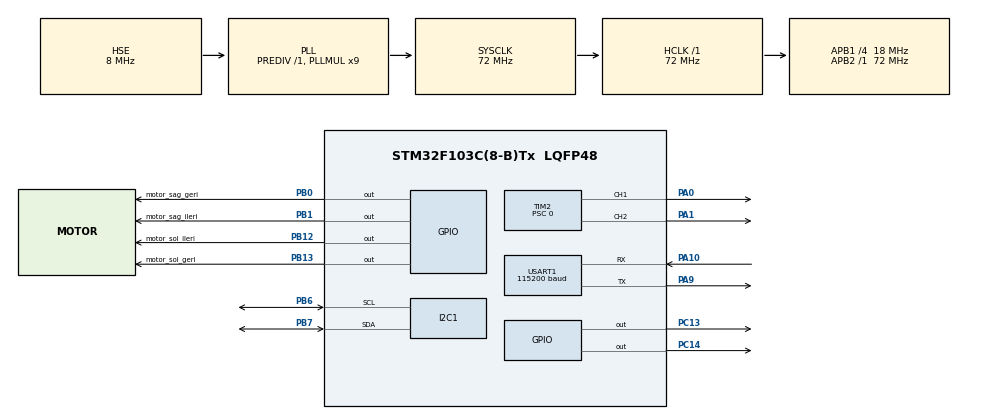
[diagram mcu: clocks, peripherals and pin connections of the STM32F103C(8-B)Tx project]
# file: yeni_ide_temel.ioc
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Mcu.Family=STM32F1
Mcu.Name=STM32F103C(8-B)Tx
Mcu.Package=LQFP48
NVIC.PriorityGroup=NVIC_PRIORITYGROUP_4
NVIC.TIM1_UP_IRQn=true\:0\:0\:false\:false\:true\:true\:true
NVIC.USART1_IRQn=true\:0\:0\:false\:false\:true\:true\:true
PA0-WKUP.Signal=S_TIM2_CH1_ETR
PA1.Signal=S_TIM2_CH2
PA10.Mode=Asynchronous
PA10.Signal=USART1_RX
PA13.Mode=Serial_Wire
PA13.Signal=SYS_JTMS-SWDIO
PA14.Mode=Serial_Wire
PA14.Signal=SYS_JTCK-SWCLK
PA9.Mode=Asynchronous
PA9.Signal=USART1_TX
PB0.GPIO_Label=motor_sag_geri
PB0.Signal=GPIO_Output
PB1.GPIO_Label=motor_sag_ileri
PB1.Signal=GPIO_Output
PB12.GPIO_Label=motor_sol_ileri
PB12.Signal=GPIO_Output
PB13.GPIO_Label=motor_sol_geri
PB13.Signal=GPIO_Output
PB6.Mode=I2C
PB6.Signal=I2C1_SCL
PB7.Mode=I2C
PB7.Signal=I2C1_SDA
PC13-TAMPER-RTC.Signal=GPIO_Output
PC14-OSC32_IN.Signal=GPIO_Output
PD0-OSC_IN.Mode=HSE-External-Oscillator
PD0-OSC_IN.Signal=RCC_OSC_IN
PD1-OSC_OUT.Mode=HSE-External-Oscillator
PD1-OSC_OUT.Signal=RCC_OSC_OUT
ProjectManager.HeapSize=0x200
ProjectManager.StackSize=0x400
ProjectManager.TargetToolchain=STM32CubeIDE
RCC.AHBFreq_Value=72000000
RCC.APB1CLKDivider=RCC_HCLK_DIV4
RCC.APB1Freq_Value=18000000
RCC.APB1TimFreq_Value=36000000
RCC.APB2Freq_Value=72000000
RCC.APB2TimFreq_Value=72000000
RCC.HCLKFreq_Value=72000000
RCC.PLLMUL=RCC_PLL_MUL9
RCC.PLLSourceVirtual=RCC_PLLSOURCE_HSE
RCC.SYSCLKFreq_VALUE=72000000
RCC.SYSCLKSource=RCC_SYSCLKSOURCE_PLLCLK
RCC.USBFreq_Value=72000000
SH.S_TIM2_CH1_ETR.0=TIM2_CH1,PWM Generation1 CH1
SH.S_TIM2_CH2.0=TIM2_CH2,PWM Generation2 CH2
TIM1.Period=1
TIM1.Prescaler=32000
TIM2.Channel-PWM\ Generation1\ CH1=TIM_CHANNEL_1
TIM2.Channel-PWM\ Generation2\ CH2=TIM_CHANNEL_2
TIM2.OCPolarity_2=TIM_OCPOLARITY_HIGH
TIM2.Period=65535
TIM2.Prescaler=0
USART1.BaudRate=115200
USART1.VirtualMode=VM_ASYNC
VP_TIM1_VS_ClockSourceINT.Mode=Internal
VP_TIM2_VS_ClockSourceINT.Mode=Internal
board=custom

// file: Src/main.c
/* USER CODE BEGIN Header */
/**
  ******************************************************************************
  * @file           : main.c
  * @brief          : Main program body
  ******************************************************************************
  * @attention
  *
  * <h2><center>&copy; Copyright (c) 2019 STMicroelectronics.
  * All rights reserved.</center></h2>
  *
  * This software component is licensed by ST under BSD 3-Clause license,
  * the "License"; You may not use this file except in compliance with the
  * License. You may obtain a copy of the License at:
  *                        opensource.org/licenses/BSD-3-Clause
  *
  ******************************************************************************
  */
/* USER CODE END Header */

#include "main.h"

/* USER CODE BEGIN Includes */
#include "definitions.h"
#include "timer.h"
#include "mpu6050.h"
#include "interpolation.h"
#include <stdio.h>
#include "pid.h"
/* USER CODE END Includes */

I2C_HandleTypeDef hi2c1;

TIM_HandleTypeDef htim1;
TIM_HandleTypeDef htim2;

UART_HandleTypeDef huart1;

void SystemClock_Config(void);
static void MX_GPIO_Init(void);
static void MX_USART1_UART_Init(void);
static void MX_TIM2_Init(void);
static void MX_I2C1_Init(void);
static void MX_TIM1_Init(void);
/* USER CODE BEGIN PFP */
void programInit(void);
void programTask(void);
void workingLed(void);
void i2c_mpu6050_Task(void);
void pidTask(void);
void uartTask(void);
void motorControl(void);
void pwm_proces();
void pwm_proces_abs();

/* USER CODE END PFP */

/* USER CODE BEGIN 0 */
uint8_t syc=0;
uint8_t data[7]="MERHABA";
uint8_t rec_data[3];
uint8_t sayi=5;
uint16_t zaman=100;
uint8_t buffer[100],n=0,ilk_deneme=0;
uint8_t tek_sayi[4];
char str[50];
float sagMotorPwmDutyValue = 0.0;
float solMotorPwmDutyValue = 0.0;
PID motorPID;

extern uint8_t dizi[];

float A_data[6];
float temp_data[2];
float G_data[6];
float Xa=0,Ya=0,Za=0;
float temp=0;
float Xg=0,Yg=0,Zg=0;
float xa_derece=0,yg_derece=0;
float duty_izleme=0;

float aci_kalib;

int8_t yon=0;

extern uint8_t syc;

/* USER CODE END 0 */

int main(void)
{

  /* MCU Configuration--------------------------------------------------------*/

  /* Reset of all peripherals, Initializes the Flash interface and the Systick. */
  HAL_Init();

  /* Configure the system clock */
  SystemClock_Config();

  /* Initialize all configured peripherals */
  MX_GPIO_Init();
  MX_USART1_UART_Init();
  MX_TIM2_Init();
  MX_I2C1_Init();
  MX_TIM1_Init();
  /* USER CODE BEGIN 2 */
  HAL_TIM_PWM_Start(&htim2,TIM_CHANNEL_1);
  HAL_TIM_PWM_Start(&htim2,TIM_CHANNEL_2);
  HAL_TIM_Base_Start_IT(&htim1);
  //HAL_UART_Receive_IT(&huart1,(uint8_t *)rx_buffer,10);
  //__HAL_UART_ENABLE_IT(&huart1,UART_IT_RXNE);
  HAL_Delay(150);
  programInit();
  uint32_t sayac;
  /* USER CODE END 2 */

  /* Infinite loop */
  /* USER CODE BEGIN WHILE */
  while (1)  //*****************************************************************************************************
  {
    /* USER CODE END WHILE */

    /* USER CODE BEGIN 3 */
	  startTimeScanFlags();
	  programTask();

	/* if(scan2Msec)
	 {
		 HAL_GPIO_TogglePin(GPIOC, GPIO_PIN_13);
	 }*/

	  clearTimeScanFlags();
  }
  /* USER CODE END 3 */
}

void SystemClock_Config(void)
{
  RCC_OscInitTypeDef RCC_OscInitStruct = {0};
  RCC_ClkInitTypeDef RCC_ClkInitStruct = {0};

  /** Initializes the CPU, AHB and APB busses clocks
  */
  RCC_OscInitStruct.OscillatorType = RCC_OSCILLATORTYPE_HSE;
  RCC_OscInitStruct.HSEState = RCC_HSE_ON;
  RCC_OscInitStruct.HSEPredivValue = RCC_HSE_PREDIV_DIV1;
  RCC_OscInitStruct.HSIState = RCC_HSI_ON;
  RCC_OscInitStruct.PLL.PLLState = RCC_PLL_ON;
  RCC_OscInitStruct.PLL.PLLSource = RCC_PLLSOURCE_HSE;
  RCC_OscInitStruct.PLL.PLLMUL = RCC_PLL_MUL9;
  if (HAL_RCC_OscConfig(&RCC_OscInitStruct) != HAL_OK)
  {
    Error_Handler();
  }
  /** Initializes the CPU, AHB and APB busses clocks
  */
  RCC_ClkInitStruct.ClockType = RCC_CLOCKTYPE_HCLK|RCC_CLOCKTYPE_SYSCLK
                              |RCC_CLOCKTYPE_PCLK1|RCC_CLOCKTYPE_PCLK2;
  RCC_ClkInitStruct.SYSCLKSource = RCC_SYSCLKSOURCE_PLLCLK;
  RCC_ClkInitStruct.AHBCLKDivider = RCC_SYSCLK_DIV1;
  RCC_ClkInitStruct.APB1CLKDivider = RCC_HCLK_DIV4;
  RCC_ClkInitStruct.APB2CLKDivider = RCC_HCLK_DIV1;

  if (HAL_RCC_ClockConfig(&RCC_ClkInitStruct, FLASH_LATENCY_2) != HAL_OK)
  {
    Error_Handler();
  }
}

static void MX_I2C1_Init(void)
{

  hi2c1.Instance = I2C1;
  hi2c1.Init.ClockSpeed = 400000;
  hi2c1.Init.DutyCycle = I2C_DUTYCYCLE_2;
  hi2c1.Init.OwnAddress1 = 0;
  hi2c1.Init.AddressingMode = I2C_ADDRESSINGMODE_7BIT;
  hi2c1.Init.DualAddressMode = I2C_DUALADDRESS_DISABLE;
  hi2c1.Init.OwnAddress2 = 0;
  hi2c1.Init.GeneralCallMode = I2C_GENERALCALL_DISABLE;
  hi2c1.Init.NoStretchMode = I2C_NOSTRETCH_DISABLE;
  if (HAL_I2C_Init(&hi2c1) != HAL_OK)
  {
    Error_Handler();
  }

}

static void MX_TIM1_Init(void)
{

  TIM_ClockConfigTypeDef sClockSourceConfig = {0};
  TIM_MasterConfigTypeDef sMasterConfig = {0};

  htim1.Instance = TIM1;
  htim1.Init.Prescaler = 35800;
  htim1.Init.CounterMode = TIM_COUNTERMODE_UP;
  htim1.Init.Period = 1;
  htim1.Init.ClockDivision = TIM_CLOCKDIVISION_DIV1;
  htim1.Init.RepetitionCounter = 0;
  htim1.Init.AutoReloadPreload = TIM_AUTORELOAD_PRELOAD_DISABLE;
  if (HAL_TIM_Base_Init(&htim1) != HAL_OK)
  {
    Error_Handler();
  }
  sClockSourceConfig.ClockSource = TIM_CLOCKSOURCE_INTERNAL;
  if (HAL_TIM_ConfigClockSource(&htim1, &sClockSourceConfig) != HAL_OK)
  {
    Error_Handler();
  }
  sMasterConfig.MasterOutputTrigger = TIM_TRGO_RESET;
  sMasterConfig.MasterSlaveMode = TIM_MASTERSLAVEMODE_DISABLE;
  if (HAL_TIMEx_MasterConfigSynchronization(&htim1, &sMasterConfig) != HAL_OK)
  {
    Error_Handler();
  }

}

static void MX_TIM2_Init(void)
{

  TIM_ClockConfigTypeDef sClockSourceConfig = {0};
  TIM_MasterConfigTypeDef sMasterConfig = {0};
  TIM_OC_InitTypeDef sConfigOC = {0};

  htim2.Instance = TIM2;
  htim2.Init.Prescaler = 0;
  htim2.Init.CounterMode = TIM_COUNTERMODE_UP;
  htim2.Init.Period = 65535;
  htim2.Init.ClockDivision = TIM_CLOCKDIVISION_DIV1;
  htim2.Init.AutoReloadPreload = TIM_AUTORELOAD_PRELOAD_DISABLE;
  if (HAL_TIM_Base_Init(&htim2) != HAL_OK)
  {
    Error_Handler();
  }
  sClockSourceConfig.ClockSource = TIM_CLOCKSOURCE_INTERNAL;
  if (HAL_TIM_ConfigClockSource(&htim2, &sClockSourceConfig) != HAL_OK)
  {
    Error_Handler();
  }
  if (HAL_TIM_PWM_Init(&htim2) != HAL_OK)
  {
    Error_Handler();
  }
  sMasterConfig.MasterOutputTrigger = TIM_TRGO_RESET;
  sMasterConfig.MasterSlaveMode = TIM_MASTERSLAVEMODE_DISABLE;
  if (HAL_TIMEx_MasterConfigSynchronization(&htim2, &sMasterConfig) != HAL_OK)
  {
    Error_Handler();
  }
  sConfigOC.OCMode = TIM_OCMODE_PWM1;
  sConfigOC.Pulse = 0;
  sConfigOC.OCPolarity = TIM_OCPOLARITY_HIGH;
  sConfigOC.OCFastMode = TIM_OCFAST_DISABLE;
  if (HAL_TIM_PWM_ConfigChannel(&htim2, &sConfigOC, TIM_CHANNEL_1) != HAL_OK)
  {
    Error_Handler();
  }
  if (HAL_TIM_PWM_ConfigChannel(&htim2, &sConfigOC, TIM_CHANNEL_2) != HAL_OK)
  {
    Error_Handler();
  }
  HAL_TIM_MspPostInit(&htim2);

}

static void MX_USART1_UART_Init(void)
{

  huart1.Instance = USART1;
  huart1.Init.BaudRate = 115200;
  huart1.Init.WordLength = UART_WORDLENGTH_8B;
  huart1.Init.StopBits = UART_STOPBITS_1;
  huart1.Init.Parity = UART_PARITY_NONE;
  huart1.Init.Mode = UART_MODE_TX_RX;
  huart1.Init.HwFlowCtl = UART_HWCONTROL_NONE;
  huart1.Init.OverSampling = UART_OVERSAMPLING_16;
  if (HAL_UART_Init(&huart1) != HAL_OK)
  {
    Error_Handler();
  }

}

static void MX_GPIO_Init(void)
{
  GPIO_InitTypeDef GPIO_InitStruct = {0};

  /* GPIO Ports Clock Enable */
  __HAL_RCC_GPIOC_CLK_ENABLE();
  __HAL_RCC_GPIOD_CLK_ENABLE();
  __HAL_RCC_GPIOA_CLK_ENABLE();
  __HAL_RCC_GPIOB_CLK_ENABLE();

  /*Configure GPIO pin Output Level */
  HAL_GPIO_WritePin(GPIOC, GPIO_PIN_13|GPIO_PIN_14, GPIO_PIN_RESET);

  /*Configure GPIO pin Output Level */
  HAL_GPIO_WritePin(GPIOB, motor_sag_geri_Pin|motor_sag_ileri_Pin|motor_sol_ileri_Pin|motor_sol_geri_Pin, GPIO_PIN_RESET);

  /*Configure GPIO pins : PC13 PC14 */
  GPIO_InitStruct.Pin = GPIO_PIN_13|GPIO_PIN_14;
  GPIO_InitStruct.Mode = GPIO_MODE_OUTPUT_PP;
  GPIO_InitStruct.Pull = GPIO_NOPULL;
  GPIO_InitStruct.Speed = GPIO_SPEED_FREQ_LOW;
  HAL_GPIO_Init(GPIOC, &GPIO_InitStruct);

  /*Configure GPIO pins : motor_sag_geri_Pin motor_sag_ileri_Pin motor_sol_ileri_Pin motor_sol_geri_Pin */
  GPIO_InitStruct.Pin = motor_sag_geri_Pin|motor_sag_ileri_Pin|motor_sol_ileri_Pin|motor_sol_geri_Pin;
  GPIO_InitStruct.Mode = GPIO_MODE_OUTPUT_PP;
  GPIO_InitStruct.Pull = GPIO_NOPULL;
  GPIO_InitStruct.Speed = GPIO_SPEED_FREQ_LOW;
  HAL_GPIO_Init(GPIOB, &GPIO_InitStruct);

}

/* USER CODE BEGIN 4 */

void programInit(void)
{

	aci_kalib=5;
	xAxisValue_eski=0;
	yAxisValue_eski=0;
	zAxisValue_eski=0;
	yGyroValue_eski=0;
	zGyroValue_eski=0;

    MPU6050_Init(MPU6050_DEV_1_ADDRESS);
    motorPID.EPSILON = 0;  //hata_payi
    motorPID.DT = 0.01;		 //zaman sabiti
    motorPID.KP = 1;
    motorPID.KI = 1;
    motorPID.KD = 0;
    motorPID.PID_ERROR_LIMIT = 60.0;
    motorPID.INTEGRAL_INITIAL_VALUE = 0.0;
    motorPID.INTEGRAL_MIN_VAL = 0.0;
	motorPID.INTEGRAL_MAX_VAL = 80.0;
	motorPID.MAX_OUTPUT = 100.0;
	pid_reset(&motorPID);
}

void programTask(void)
{
	//workingLed();
	//motorControl();
	MPU6050_Task(MPU6050_DEV_1_ADDRESS);
	///pwm_proces();
	pidTask();
	//pwm_proces_abs();
	uartTask();

	//        	U_8 dev_address = MPU6050_DEV_1_ADDRESS;
	//        	U_16 reg_address = 0x3B; //Read X axis(LSB);
	//        	U_8 timeout = 200;
	//        	U_16 readDataSequence[16];
	//
	//			result = I2CRead(dev_address, reg_address, (U_8*)&readDataSequence, sizeof(readDataSequence), timeout;
//
//	U_8 writeData[2];
//	writeData[0] = 0x0F;
//	writeData[1] = 0xF8;
//	I2CWrite(AD7997_0_ADDR_AGND, 0x02, (U_8*)&writeData, sizeof(writeData), 200, FALSE);
//	I2CWrite(AD7997_0_ADDR_VDD,  0x02, (U_8*)&writeData, sizeof(writeData), 200, FALSE);
}

void i2c_mpu6050_Task(void)
{

	  // A_data[0]=mpu6050_read(0x3B); //Read X axis(LSB)
	  // A_data[1]=mpu6050_read(0x3C); //Read X axis(MSB)
	  // A_data[2]=mpu6050_read(0x3D); //Read Y axis(LSB)
	  // A_data[3]=mpu6050_read(0x3E); //Read Y axis(MSB)
	  // A_data[4]=mpu6050_read(0x3F); //Read Z axis(LSB)
	  // A_data[5]=mpu6050_read(0x40); //Read Z axis(MSB)

	  // temp_data[0]=mpu6050_read(0x41);
	  // temp_data[1]=mpu6050_read(0x42);

	  // G_data[0]=mpu6050_read(0x43); //Read X axis(LSB)
	  // G_data[1]=mpu6050_read(0x44); //Read X axis(MSB)
	  // G_data[2]=mpu6050_read(0x45); //Read Y axis(LSB)
	  // G_data[3]=mpu6050_read(0x46); //Read Y axis(MSB)
	  // G_data[4]=mpu6050_read(0x47); //Read Z axis(LSB)
	  // G_data[5]=mpu6050_read(0x48); //Read Z axis(MSB)

	  // Xa=make16(A_data[0],A_data[1]);

	  // Ya=make16(A_data[2],A_data[3]);
	  // Za=make16(A_data[4],A_data[5]);

	   //temp=make16(temp_data[0],temp_data[1]);
	   //temp=temp/(int16)340 + (int16)36.53;

	  // Xg=make16(G_data[0],G_data[1]);
	  // Yg=make16(G_data[2],G_data[3]);
	  // Zg=make16(G_data[4],G_data[5]);

	 //  float Heading = atan2((signed int16)Ya,(signed int16)Xa)* 180 / pi + 180;

	 // sprintf(buffer,"xa =%Ld  ya =%Ld  za =%Ld  xg = %Ld yg = %Ld  zg = %Ld temp=%Ld \t\r",Xa,Ya,Za,Xg,Yg,Zg,temp);
	 //   fprintf(RS232,"%s",buffer);

}

void pwm_proces_abs()
{
	static float pwm_min_val;

	        sagMotorPwmDutyValue = motorPID.output;
			solMotorPwmDutyValue = motorPID.output;

			if (pitch >0)
			{
				HAL_GPIO_WritePin(GPIOB, SAG_MOTOR_DIR_BACK_PIN, SET);
				HAL_GPIO_WritePin(GPIOB, SAG_MOTOR_DIR_FORWARD_PIN, RESET);

			}
			else if (pitch<0)
			{

				HAL_GPIO_WritePin(GPIOB, SAG_MOTOR_DIR_BACK_PIN, RESET);
				HAL_GPIO_WritePin(GPIOB, SAG_MOTOR_DIR_FORWARD_PIN, SET);
			}
			else
			{
				HAL_GPIO_WritePin(GPIOB, SAG_MOTOR_DIR_BACK_PIN, RESET);
				HAL_GPIO_WritePin(GPIOB, SAG_MOTOR_DIR_FORWARD_PIN, RESET);
			}

			if (pitch > 0)
			{
				HAL_GPIO_WritePin(GPIOB, SOL_MOTOR_DIR_BACK_PIN, SET);
				HAL_GPIO_WritePin(GPIOB, SOL_MOTOR_DIR_FORWARD_PIN, RESET);

			}
			else if(pitch < 0)
			{

				HAL_GPIO_WritePin(GPIOB, SOL_MOTOR_DIR_BACK_PIN, RESET);
				HAL_GPIO_WritePin(GPIOB, SOL_MOTOR_DIR_FORWARD_PIN, SET);
			}

	        else
	        {
		       HAL_GPIO_WritePin(GPIOB, SAG_MOTOR_DIR_BACK_PIN, RESET);
		       HAL_GPIO_WritePin(GPIOB, SAG_MOTOR_DIR_FORWARD_PIN, RESET);
	        }

			if (pitch > 60 || pitch < -60)
			{

				htim2.Instance->CCR1 = 0;
				htim2.Instance->CCR2 = 0;
			}

			else if (pitch < aci_kalib && pitch > -1 * aci_kalib)
			{
				htim2.Instance->CCR1 = (uint16_t) 0;
				htim2.Instance->CCR2 = (uint16_t) 0;

				/*HAL_GPIO_WritePin(GPIOB, SOL_MOTOR_DIR_BACK_PIN, SET);
				 HAL_GPIO_WritePin(GPIOB, SOL_MOTOR_DIR_FORWARD_PIN, SET);

				 HAL_GPIO_WritePin(GPIOB, SAG_MOTOR_DIR_BACK_PIN, SET);
				 HAL_GPIO_WritePin(GPIOB, SAG_MOTOR_DIR_FORWARD_PIN, SET);*/
			}

			else
			{

				float tempPwmValue1 = limitedInterpolation(sagMotorPwmDutyValue, 0,
						100, 20000, 60000);
				float tempPwmValue2 = limitedInterpolation(solMotorPwmDutyValue, 0,
						100, 20000, 60000);
				duty_izleme = tempPwmValue1;

				htim2.Instance->CCR1 = (uint16_t) (tempPwmValue1);
				htim2.Instance->CCR2 = (uint16_t) (tempPwmValue2);
			}
}

void pwm_proces()
{
	static float pwm_min_val;

	        sagMotorPwmDutyValue = motorPID.output;
			solMotorPwmDutyValue = motorPID.output;

			if (sagMotorPwmDutyValue < 0) {
				sagMotorPwmDutyValue = -1 * sagMotorPwmDutyValue;
				HAL_GPIO_WritePin(GPIOB, SAG_MOTOR_DIR_BACK_PIN, SET);
				HAL_GPIO_WritePin(GPIOB, SAG_MOTOR_DIR_FORWARD_PIN, RESET);
				pwm_min_val = 30000;
			}
			else if (sagMotorPwmDutyValue>0)
			{
				pwm_min_val = 20000;
				HAL_GPIO_WritePin(GPIOB, SAG_MOTOR_DIR_BACK_PIN, RESET);
				HAL_GPIO_WritePin(GPIOB, SAG_MOTOR_DIR_FORWARD_PIN, SET);
			}
			else
			{
				HAL_GPIO_WritePin(GPIOB, SAG_MOTOR_DIR_BACK_PIN, RESET);
				HAL_GPIO_WritePin(GPIOB, SAG_MOTOR_DIR_FORWARD_PIN, RESET);
			}

			if (solMotorPwmDutyValue < 0) {
				solMotorPwmDutyValue = -1 * solMotorPwmDutyValue;
				HAL_GPIO_WritePin(GPIOB, SOL_MOTOR_DIR_BACK_PIN, SET);
				HAL_GPIO_WritePin(GPIOB, SOL_MOTOR_DIR_FORWARD_PIN, RESET);
				pwm_min_val = 30000;
			}
			else if(solMotorPwmDutyValue > 0)
			{
				pwm_min_val = 20000;
				HAL_GPIO_WritePin(GPIOB, SOL_MOTOR_DIR_BACK_PIN, RESET);
				HAL_GPIO_WritePin(GPIOB, SOL_MOTOR_DIR_FORWARD_PIN, SET);
			}

			else
					{
						HAL_GPIO_WritePin(GPIOB, SAG_MOTOR_DIR_BACK_PIN, RESET);
									HAL_GPIO_WritePin(GPIOB, SAG_MOTOR_DIR_FORWARD_PIN, RESET);
					}

			if (pitch > 60 || pitch < -60)
			{

				htim2.Instance->CCR1 = 0;
				htim2.Instance->CCR2 = 0;
			}

			else if (pitch < aci_kalib && pitch > -1 * aci_kalib)
			{
				htim2.Instance->CCR1 = (uint16_t) 0;
				htim2.Instance->CCR2 = (uint16_t) 0;

				/*HAL_GPIO_WritePin(GPIOB, SOL_MOTOR_DIR_BACK_PIN, SET);
				 HAL_GPIO_WritePin(GPIOB, SOL_MOTOR_DIR_FORWARD_PIN, SET);

				 HAL_GPIO_WritePin(GPIOB, SAG_MOTOR_DIR_BACK_PIN, SET);
				 HAL_GPIO_WritePin(GPIOB, SAG_MOTOR_DIR_FORWARD_PIN, SET);*/
			}

			else
			{

				float tempPwmValue1 = limitedInterpolation(sagMotorPwmDutyValue, 0,
						100, pwm_min_val, 60000);
				float tempPwmValue2 = limitedInterpolation(solMotorPwmDutyValue, 0,
						100, pwm_min_val, 60000);
				duty_izleme = tempPwmValue1;

				htim2.Instance->CCR1 = (uint16_t) (tempPwmValue1);
				htim2.Instance->CCR2 = (uint16_t) (tempPwmValue2);
			}
}

void pidTask(void)  //PID işlemi burada yapılıyor.
{

	static float pwm_min_val=20000.0;
	if (scan10Msec)
	{

		if(ilk_deneme==0)
		{
			if(pitch!=0)
				return;
			else
			{
				ilk_deneme=1;
			}

		}

		static float pitch_abs;
		if(pitch<0)
		{
			pitch_abs=-1*pitch;
		}
		else
			pitch_abs=pitch;

		motorPID.setValue = 0;	//olması gereken.
		motorPID.feedbackValue = pitch_abs;
		pid_control(&motorPID, positiveLimiting);
		if(motorPID.error<aci_kalib  && motorPID.error > -1 * aci_kalib)
		{
			pid_reset(&motorPID);

			pitch=0;

		}

		 sagMotorPwmDutyValue = motorPID.output;
					solMotorPwmDutyValue = motorPID.output;

//					if(yon==0)
//					{
//
//					}
//					else
//					{
//
//					}

					if (pitch >0)
					{
						HAL_GPIO_WritePin(GPIOB, SAG_MOTOR_DIR_BACK_PIN, SET);
						HAL_GPIO_WritePin(GPIOB, SAG_MOTOR_DIR_FORWARD_PIN, RESET);
						HAL_GPIO_WritePin(GPIOB, SOL_MOTOR_DIR_BACK_PIN, SET);
						HAL_GPIO_WritePin(GPIOB, SOL_MOTOR_DIR_FORWARD_PIN, RESET);
						//pwm_min_val=20000.0;

						yon=90;

					}
					else if (pitch<0)
					{

						HAL_GPIO_WritePin(GPIOB, SAG_MOTOR_DIR_BACK_PIN, RESET);
						HAL_GPIO_WritePin(GPIOB, SAG_MOTOR_DIR_FORWARD_PIN, SET);
						HAL_GPIO_WritePin(GPIOB, SOL_MOTOR_DIR_BACK_PIN, RESET);
						HAL_GPIO_WritePin(GPIOB, SOL_MOTOR_DIR_FORWARD_PIN, SET);
						//pwm_min_val=50000;
						yon=0;
					}
					else
					{
						HAL_GPIO_WritePin(GPIOB, SAG_MOTOR_DIR_BACK_PIN, RESET);
						HAL_GPIO_WritePin(GPIOB, SAG_MOTOR_DIR_FORWARD_PIN, RESET);
						HAL_GPIO_WritePin(GPIOB, SOL_MOTOR_DIR_BACK_PIN, RESET);
						HAL_GPIO_WritePin(GPIOB, SOL_MOTOR_DIR_FORWARD_PIN, RESET);
						yon=0;
					}

					if (pitch > 60 || pitch < -60)
					{

						htim2.Instance->CCR1 = 0;
						htim2.Instance->CCR2 = 0;
					}

					else if (pitch < aci_kalib && pitch > -1 * aci_kalib)
					{
						htim2.Instance->CCR1 = (uint16_t) 0;
						htim2.Instance->CCR2 = (uint16_t) 0;
						yon=45;

						/*HAL_GPIO_WritePin(GPIOB, SOL_MOTOR_DIR_BACK_PIN, SET);
						 HAL_GPIO_WritePin(GPIOB, SOL_MOTOR_DIR_FORWARD_PIN, SET);

						 HAL_GPIO_WritePin(GPIOB, SAG_MOTOR_DIR_BACK_PIN, SET);
						 HAL_GPIO_WritePin(GPIOB, SAG_MOTOR_DIR_FORWARD_PIN, SET);*/
					}

					else
					{

						float tempPwmValue1 = limitedInterpolation(sagMotorPwmDutyValue, 0,
								100, 20000, 60000);
						float tempPwmValue2 = limitedInterpolation(solMotorPwmDutyValue, 0,
								100, 20000, 60000);
						duty_izleme = tempPwmValue1;

						htim2.Instance->CCR1 = (uint16_t) (tempPwmValue1);
						htim2.Instance->CCR2 = (uint16_t) (tempPwmValue2);
					}
	}

}
void uartTask(void)
{
	if (scan1Sec)
		{
		HAL_UART_Receive_IT(&huart1,(uint8_t *)rx_buffer,7);
		if(syc>=7)    /// DESİMAL 48     ASCILL 0
		{
			if (rx_buffer[0] == 'S' && rx_buffer[6] == 'B')
			{
				if (rx_buffer[1] == 'K' && rx_buffer[2] == 'P')
				{
					 motorPID.KP= (float)((rx_buffer[3]-48)*10+(rx_buffer[4]-48)+(float)((float)(rx_buffer[5]-48)/10));
					/* n = sprintf((char *) buffer, "%.2f \n",motorPID.KP);
					 HAL_UART_Transmit(&huart1,buffer,n,10000);*/

				}
				if (rx_buffer[1] == 'K' && rx_buffer[2] == 'I')
				{
					motorPID.KI= (float)((rx_buffer[3]-48)*10+(rx_buffer[4]-48)+(float)((float)(rx_buffer[5]-48)/10));
				}
				if (rx_buffer[1] == 'K' && rx_buffer[2] == 'D')
				{
					motorPID.KD= (float)((rx_buffer[3]-48)*10+(rx_buffer[4]-48)+(float)((float)(rx_buffer[5]-48)/10));
				}
				if (rx_buffer[1] == 'A' && rx_buffer[2] == 'K')
				{
					aci_kalib= (float) ((rx_buffer[3] - 48) * 10 + (rx_buffer[4] - 48) + (float) ((float) (rx_buffer[5] - 48) / 10));
				}

		   }
		syc=0;
			// __HAL_UART_ENABLE_IT(&huart1,UART_IT_RXNE);
		}
		}

		if (scan2Msec)
			{

		//  n= sprintf((char *)buffer," %.2f   %.2f   %.2f  %.2f  %.2f  %.2f  %.2f\n",x_ang,y_ang,xAxisValue,yAxisValue,zAxisValue,pitch);  // lazım olan y_ang

		//n = sprintf((char *) buffer, "%.2f   %.2f   %.2f   %.2f   %.2f   %.2f \n",motorPID.KP,motorPID.KI,motorPID.KD,pitch,motorPID.error,duty_izleme);

	   // n = sprintf((char *) buffer, "%.2f  %.2f \n",pitch,duty_izleme);
		//	n = sprintf((char *) buffer, "%d",(int8_t)pitch);

			tek_sayi[0]=205;
			tek_sayi[3]=230;
			tek_sayi[1]=(uint8_t)(pitch+90);
			tek_sayi[2]=(uint8_t)(yon);
		HAL_UART_Transmit(&huart1,tek_sayi,4,10000);

	}
}
void motorControl(void)
{
	if(scan100Msec)
	{
		//
	}
}
void workingLed(void)
{
	if (scan1Sec)
	{
		//HAL_GPIO_TogglePin(GPIOC, GPIO_PIN_13);
	}
}
/* USER CODE END 4 */

void Error_Handler(void)
{
}

/************************ (C) COPYRIGHT STMicroelectronics *****END OF FILE****/
